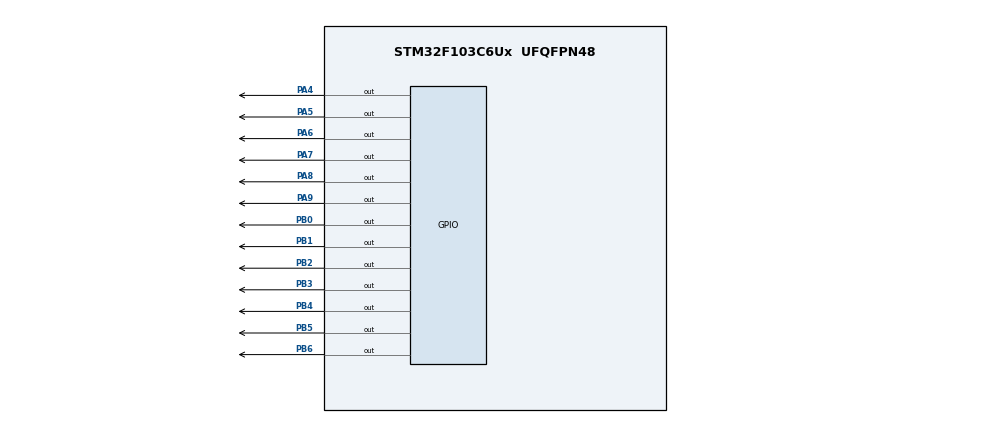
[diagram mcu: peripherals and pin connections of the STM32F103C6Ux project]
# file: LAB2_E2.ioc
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Mcu.Family=STM32F1
Mcu.Name=STM32F103C6Ux
Mcu.Package=UFQFPN48
NVIC.PriorityGroup=NVIC_PRIORITYGROUP_4
NVIC.TIM2_IRQn=true\:0\:0\:false\:false\:true\:true\:true
PA4.Signal=GPIO_Output
PA5.Signal=GPIO_Output
PA6.Signal=GPIO_Output
PA7.Signal=GPIO_Output
PA8.Signal=GPIO_Output
PA9.Signal=GPIO_Output
PB0.Signal=GPIO_Output
PB1.Signal=GPIO_Output
PB2.Signal=GPIO_Output
PB3.Signal=GPIO_Output
PB4.Signal=GPIO_Output
PB5.Signal=GPIO_Output
PB6.Signal=GPIO_Output
ProjectManager.HeapSize=0x200
ProjectManager.StackSize=0x400
ProjectManager.TargetToolchain=STM32CubeIDE
RCC.APB1Freq_Value=8000000
RCC.APB2Freq_Value=8000000
TIM2.Period=9
TIM2.Prescaler=7999
VP_SYS_VS_ND.Mode=No_Debug
VP_TIM2_VS_ClockSourceINT.Mode=Internal
board=custom

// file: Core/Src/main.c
/* USER CODE BEGIN Header */
/**
  ******************************************************************************
  * @file           : main.c
  * @brief          : Main program body
  ******************************************************************************
  * @attention
  *
  * <h2><center>&copy; Copyright (c) 2025 STMicroelectronics.
  * All rights reserved.</center></h2>
  *
  * This software component is licensed by ST under BSD 3-Clause license,
  * the "License"; You may not use this file except in compliance with the
  * License. You may obtain a copy of the License at:
  *                        opensource.org/licenses/BSD-3-Clause
  *
  ******************************************************************************
  */
/* USER CODE END Header */
#include "main.h"

/* USER CODE BEGIN Includes */
#include "timer.h"
/* USER CODE END Includes */

TIM_HandleTypeDef htim2;

void SystemClock_Config(void);
static void MX_GPIO_Init(void);
static void MX_TIM2_Init(void);

uint8_t table[10] = {
    0b1000000, // 0
    0b1111001, // 1
    0b0100100, // 2
    0b0110000, // 3
    0b0011001, // 4
    0b0010010, // 5
    0b0000010, // 6
    0b1111000, // 7
    0b0000000, // 8
    0b0010000 // 9
};

void display7SEG(int num){
	uint8_t n= table[num];
	GPIOB->ODR= (GPIOB->ODR & 0xFFFFFF80)|n;
}
int main(void)
{

  /* MCU Configuration--------------------------------------------------------*/

  /* Reset of all peripherals, Initializes the Flash interface and the Systick. */
  HAL_Init();

  /* Configure the system clock */
  SystemClock_Config();

  /* Initialize all configured peripherals */
  MX_GPIO_Init();
  MX_TIM2_Init();
  /* USER CODE BEGIN 2 */
HAL_TIM_Base_Start_IT(&htim2);
  /* USER CODE END 2 */

  /* Infinite loop */
  while (1)
  {

  }
}

void SystemClock_Config(void)
{
  RCC_OscInitTypeDef RCC_OscInitStruct = {0};
  RCC_ClkInitTypeDef RCC_ClkInitStruct = {0};

  /** Initializes the RCC Oscillators according to the specified parameters
  * in the RCC_OscInitTypeDef structure.
  */
  RCC_OscInitStruct.OscillatorType = RCC_OSCILLATORTYPE_HSI;
  RCC_OscInitStruct.HSIState = RCC_HSI_ON;
  RCC_OscInitStruct.HSICalibrationValue = RCC_HSICALIBRATION_DEFAULT;
  RCC_OscInitStruct.PLL.PLLState = RCC_PLL_NONE;
  if (HAL_RCC_OscConfig(&RCC_OscInitStruct) != HAL_OK)
  {
    Error_Handler();
  }
  /** Initializes the CPU, AHB and APB buses clocks
  */
  RCC_ClkInitStruct.ClockType = RCC_CLOCKTYPE_HCLK|RCC_CLOCKTYPE_SYSCLK
                              |RCC_CLOCKTYPE_PCLK1|RCC_CLOCKTYPE_PCLK2;
  RCC_ClkInitStruct.SYSCLKSource = RCC_SYSCLKSOURCE_HSI;
  RCC_ClkInitStruct.AHBCLKDivider = RCC_SYSCLK_DIV1;
  RCC_ClkInitStruct.APB1CLKDivider = RCC_HCLK_DIV1;
  RCC_ClkInitStruct.APB2CLKDivider = RCC_HCLK_DIV1;

  if (HAL_RCC_ClockConfig(&RCC_ClkInitStruct, FLASH_LATENCY_0) != HAL_OK)
  {
    Error_Handler();
  }
}

static void MX_TIM2_Init(void)
{

  TIM_ClockConfigTypeDef sClockSourceConfig = {0};
  TIM_MasterConfigTypeDef sMasterConfig = {0};

  htim2.Instance = TIM2;
  htim2.Init.Prescaler = 7999;
  htim2.Init.CounterMode = TIM_COUNTERMODE_UP;
  htim2.Init.Period = 9;
  htim2.Init.ClockDivision = TIM_CLOCKDIVISION_DIV1;
  htim2.Init.AutoReloadPreload = TIM_AUTORELOAD_PRELOAD_DISABLE;
  if (HAL_TIM_Base_Init(&htim2) != HAL_OK)
  {
    Error_Handler();
  }
  sClockSourceConfig.ClockSource = TIM_CLOCKSOURCE_INTERNAL;
  if (HAL_TIM_ConfigClockSource(&htim2, &sClockSourceConfig) != HAL_OK)
  {
    Error_Handler();
  }
  sMasterConfig.MasterOutputTrigger = TIM_TRGO_RESET;
  sMasterConfig.MasterSlaveMode = TIM_MASTERSLAVEMODE_DISABLE;
  if (HAL_TIMEx_MasterConfigSynchronization(&htim2, &sMasterConfig) != HAL_OK)
  {
    Error_Handler();
  }

}

static void MX_GPIO_Init(void)
{
  GPIO_InitTypeDef GPIO_InitStruct = {0};

  /* GPIO Ports Clock Enable */
  __HAL_RCC_GPIOA_CLK_ENABLE();
  __HAL_RCC_GPIOB_CLK_ENABLE();

  /*Configure GPIO pin Output Level */
  HAL_GPIO_WritePin(GPIOA, GPIO_PIN_4|GPIO_PIN_5|GPIO_PIN_6|GPIO_PIN_7
                          |GPIO_PIN_8|GPIO_PIN_9, GPIO_PIN_RESET);

  /*Configure GPIO pin Output Level */
  HAL_GPIO_WritePin(GPIOB, GPIO_PIN_0|GPIO_PIN_1|GPIO_PIN_2|GPIO_PIN_3
                          |GPIO_PIN_4|GPIO_PIN_5|GPIO_PIN_6, GPIO_PIN_RESET);

  /*Configure GPIO pins : PA4 PA5 PA6 PA7
                           PA8 PA9 */
  GPIO_InitStruct.Pin = GPIO_PIN_4|GPIO_PIN_5|GPIO_PIN_6|GPIO_PIN_7
                          |GPIO_PIN_8|GPIO_PIN_9;
  GPIO_InitStruct.Mode = GPIO_MODE_OUTPUT_PP;
  GPIO_InitStruct.Pull = GPIO_NOPULL;
  GPIO_InitStruct.Speed = GPIO_SPEED_FREQ_LOW;
  HAL_GPIO_Init(GPIOA, &GPIO_InitStruct);

  /*Configure GPIO pins : PB0 PB1 PB2 PB3
                           PB4 PB5 PB6 */
  GPIO_InitStruct.Pin = GPIO_PIN_0|GPIO_PIN_1|GPIO_PIN_2|GPIO_PIN_3
                          |GPIO_PIN_4|GPIO_PIN_5|GPIO_PIN_6;
  GPIO_InitStruct.Mode = GPIO_MODE_OUTPUT_PP;
  GPIO_InitStruct.Pull = GPIO_NOPULL;
  GPIO_InitStruct.Speed = GPIO_SPEED_FREQ_LOW;
  HAL_GPIO_Init(GPIOB, &GPIO_InitStruct);

}

/* USER CODE BEGIN 4 */
int count=0;
int counter=50;
int num=0;
void HAL_TIM_PeriodElapsedCallback(TIM_HandleTypeDef *htim){
    counter--;

	if(counter==0) {
		 counter=50;
		 if(num<3) num++;
		 else num=0;
		 count++;
		 if(count==2){
			 HAL_GPIO_TogglePin(GPIOA, GPIO_PIN_5);
			 HAL_GPIO_TogglePin(GPIOA, GPIO_PIN_4);
			 count=0;
		 }
	 }

	 switch(num){
	 case 0:
		 HAL_GPIO_WritePin(GPIOA, GPIO_PIN_6, RESET);
		 HAL_GPIO_WritePin(GPIOA, GPIO_PIN_7, SET);
		 HAL_GPIO_WritePin(GPIOA, GPIO_PIN_8, SET);
		 HAL_GPIO_WritePin(GPIOA, GPIO_PIN_9, SET);
		 display7SEG(1);
		 break;
	 case 1:
		 HAL_GPIO_WritePin(GPIOA, GPIO_PIN_6, SET);
		 HAL_GPIO_WritePin(GPIOA, GPIO_PIN_7, RESET);
		 HAL_GPIO_WritePin(GPIOA, GPIO_PIN_8, SET);
		 HAL_GPIO_WritePin(GPIOA, GPIO_PIN_9, SET);
		 display7SEG(2);
		 break;
	 case 2:
	 	HAL_GPIO_WritePin(GPIOA, GPIO_PIN_6, SET);
	 	HAL_GPIO_WritePin(GPIOA, GPIO_PIN_7, SET);
	    HAL_GPIO_WritePin(GPIOA, GPIO_PIN_8, RESET);
	 	HAL_GPIO_WritePin(GPIOA, GPIO_PIN_9, SET);
	 	display7SEG(3);
	 	break;
	 case 3:
	 	HAL_GPIO_WritePin(GPIOA, GPIO_PIN_6, SET);
	 	HAL_GPIO_WritePin(GPIOA, GPIO_PIN_7, SET);
	 	HAL_GPIO_WritePin(GPIOA, GPIO_PIN_8, SET);
	 	HAL_GPIO_WritePin(GPIOA, GPIO_PIN_9, RESET);
	 	display7SEG(0);
	    break;
	 default :
		 break;
}
}
/* USER CODE END 4 */

void Error_Handler(void)
{
  __disable_irq();
  while (1)
  {
  }
}

/************************ (C) COPYRIGHT STMicroelectronics *****END OF FILE****/
